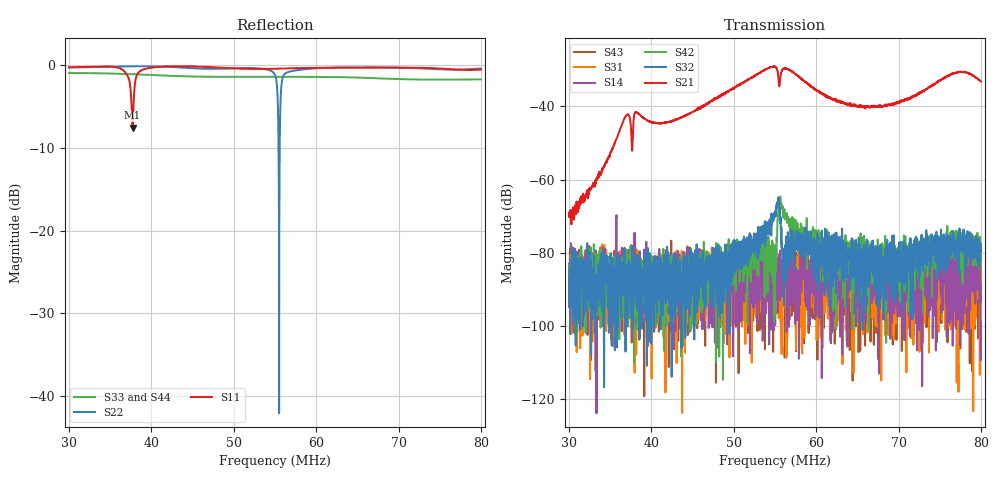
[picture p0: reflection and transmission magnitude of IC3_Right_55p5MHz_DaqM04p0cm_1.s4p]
#  HZ  S  DB  R  50.00
! Rohde & Schwarz Vector Network Analyzer
! Rohde-Schwarz,ZNB8-4Port,1311601044102961,2.82
! Created: UTC 2/13/2019, 1:35:22 PM
! freq[Hz]  db:S11  ang:S11  db:S12  ang:S12  db:S13  ang:S13  db:S14  ang:S14
!  db:S21  ang:S21  db:S22  ang:S22  db:S23  ang:S23  db:S24  ang:S24
!  db:S31  ang:S31  db:S32  ang:S32  db:S33  ang:S33  db:S34  ang:S34
!  db:S41  ang:S41  db:S42  ang:S42  db:S43  ang:S43  db:S44  ang:S44
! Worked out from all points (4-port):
!   2001 points, 30 MHz to 80 MHz, reference 50 ohm
!   strongest paths, dB at 30 MHz, 42.5 MHz, 55 MHz, 67.5 MHz, 80 MHz:
!     S21: -70.2, -43.9, -29.1, -39.9, -33.2
!     S32: -93.6, -87.7, -69.6, -79.1, -77.5
!     S42: -86.1, -88.0, -97.7, -79.2, -78.5
!     S14: -94.9, -88.7, -84.9, -86.7, -99.0
!     S31: -93.0, -90.1, -96.2, -89.8, -88.2
!     S43: -90.7, -81.1, -90.3, -85.6, -93.4
!   lowest |S11| = -7.5 dB at 37.7 MHz (marker M1), VSWR 2.44, Z = 105 - j38.5 ohm
!   |S11| at or under -10 dB: nowhere
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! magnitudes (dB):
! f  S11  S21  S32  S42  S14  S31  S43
! 30 MHz  -0.3  -70.2  -93.6  -86.1  -94.9  -93.0  -90.7
! 37.7 MHz  -7.5  -50.1  -87.4  -96.2  -90.6  -100.7  -83.3
! 54.92 MHz  -0.4  -29.1  -69.6  -92.2  -94.5  -89.5  -92.3
! 55.65 MHz  -0.4  -32.0  -71.9  -64.7  -83.9  -85.6  -90.2
! 56.08 MHz  -0.4  -29.6  -80.5  -68.9  -88.7  -87.0  -88.1
! 61.02 MHz  -0.3  -37.0  -78.2  -79.9  -80.8  -85.1  -91.8
! 80 MHz  -0.5  -33.2  -77.5  -78.5  -99.0  -88.2  -93.4
